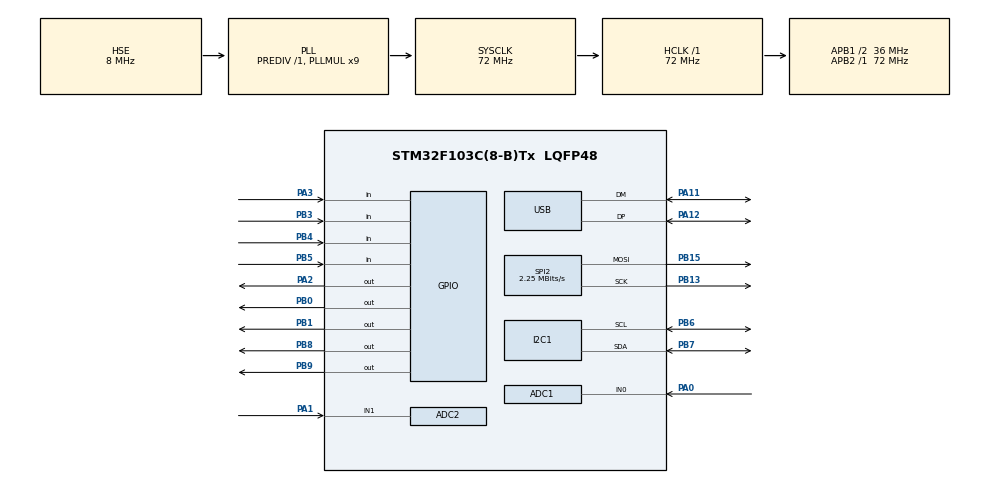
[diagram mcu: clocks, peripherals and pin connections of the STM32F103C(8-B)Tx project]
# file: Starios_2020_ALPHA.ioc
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ADC1.Channel-1\#ChannelRegularConversion=ADC_CHANNEL_0
ADC1.ContinuousConvMode=ENABLE
ADC1.NbrOfConversion=1
ADC1.NbrOfConversionFlag=1
ADC1.Rank-1\#ChannelRegularConversion=1
ADC1.SamplingTime-1\#ChannelRegularConversion=ADC_SAMPLETIME_1CYCLE_5
ADC1.master=1
ADC2.Channel-0\#ChannelRegularConversion=ADC_CHANNEL_1
ADC2.ContinuousConvMode=ENABLE
ADC2.NbrOfConversionFlag=1
ADC2.Rank-0\#ChannelRegularConversion=1
ADC2.SamplingTime-0\#ChannelRegularConversion=ADC_SAMPLETIME_1CYCLE_5
Dma.Request0=SPI2_TX
Dma.SPI2_TX.0.Direction=DMA_MEMORY_TO_PERIPH
Dma.SPI2_TX.0.Instance=DMA1_Channel5
Dma.SPI2_TX.0.MemDataAlignment=DMA_MDATAALIGN_BYTE
Dma.SPI2_TX.0.MemInc=DMA_MINC_ENABLE
Dma.SPI2_TX.0.Mode=DMA_NORMAL
Dma.SPI2_TX.0.PeriphDataAlignment=DMA_PDATAALIGN_BYTE
Dma.SPI2_TX.0.PeriphInc=DMA_PINC_DISABLE
Dma.SPI2_TX.0.Priority=DMA_PRIORITY_LOW
I2C1.I2C_Mode=I2C_Fast
I2C1.NoStretchMode=I2C_NOSTRETCH_DISABLE
Mcu.Family=STM32F1
Mcu.Name=STM32F103C(8-B)Tx
Mcu.Package=LQFP48
NVIC.DMA1_Channel5_IRQn=true\:0\:0\:false\:false\:true\:false\:true
NVIC.PriorityGroup=NVIC_PRIORITYGROUP_4
NVIC.TIM3_IRQn=true\:0\:0\:false\:false\:true\:true\:true
NVIC.USB_LP_CAN1_RX0_IRQn=true\:0\:0\:false\:false\:true\:false\:true
PA0-WKUP.Signal=ADCx_IN0
PA1.Signal=ADCx_IN1
PA11.Mode=Device
PA11.Signal=USB_DM
PA12.Mode=Device
PA12.Signal=USB_DP
PA13.Mode=Serial_Wire
PA13.Signal=SYS_JTMS-SWDIO
PA14.Mode=Serial_Wire
PA14.Signal=SYS_JTCK-SWCLK
PA2.Signal=GPIO_Output
PA3.GPIO_PuPd=GPIO_NOPULL
PA3.Signal=GPIO_Input
PB0.Signal=GPIO_Output
PB1.PinState=GPIO_PIN_SET
PB1.Signal=GPIO_Output
PB13.Mode=TX_Only_Simplex_Unidirect_Master
PB13.Signal=SPI2_SCK
PB15.Mode=TX_Only_Simplex_Unidirect_Master
PB15.Signal=SPI2_MOSI
PB3.Signal=GPIO_Input
PB4.Signal=GPIO_Input
PB5.GPIO_PuPd=GPIO_PULLUP
PB5.Signal=GPIO_Input
PB6.Mode=I2C
PB6.Signal=I2C1_SCL
PB7.Mode=I2C
PB7.Signal=I2C1_SDA
PB8.GPIO_PuPd=GPIO_PULLDOWN
PB8.Signal=GPIO_Output
PB9.GPIO_PuPd=GPIO_NOPULL
PB9.PinState=GPIO_PIN_RESET
PB9.Signal=GPIO_Output
PD0-OSC_IN.Mode=HSE-External-Oscillator
PD0-OSC_IN.Signal=RCC_OSC_IN
PD1-OSC_OUT.Mode=HSE-External-Oscillator
PD1-OSC_OUT.Signal=RCC_OSC_OUT
ProjectManager.HeapSize=0x200
ProjectManager.StackSize=0x400
ProjectManager.TargetToolchain=STM32CubeIDE
RCC.ADCPresc=RCC_ADCPCLK2_DIV6
RCC.AHBFreq_Value=72000000
RCC.APB1CLKDivider=RCC_HCLK_DIV2
RCC.APB1Freq_Value=36000000
RCC.APB1TimFreq_Value=72000000
RCC.APB2Freq_Value=72000000
RCC.APB2TimFreq_Value=72000000
RCC.HCLKFreq_Value=72000000
RCC.PLLMUL=RCC_PLL_MUL9
RCC.PLLSourceVirtual=RCC_PLLSOURCE_HSE
RCC.SYSCLKFreq_VALUE=72000000
RCC.SYSCLKSource=RCC_SYSCLKSOURCE_PLLCLK
RCC.USBFreq_Value=48000000
RCC.USBPrescaler=RCC_USBCLKSOURCE_PLL_DIV1_5
SH.ADCx_IN0.0=ADC1_IN0,IN0
SH.ADCx_IN1.0=ADC2_IN1,IN1
SPI2.BaudRatePrescaler=SPI_BAUDRATEPRESCALER_16
SPI2.CLKPhase=SPI_PHASE_2EDGE
SPI2.CalculateBaudRate=2.25 MBits/s
SPI2.Direction=SPI_DIRECTION_2LINES
SPI2.Mode=SPI_MODE_MASTER
SPI2.VirtualType=VM_MASTER
TIM3.ClockDivision=TIM_CLOCKDIVISION_DIV1
TIM3.Period=1656
TIM3.Prescaler=1
USB_DEVICE.CLASS_NAME_FS=CDC
USB_DEVICE.USBD_SELF_POWERED=0
USB_DEVICE.VirtualMode=Cdc
USB_DEVICE.VirtualModeFS=Cdc_FS
VP_TIM3_VS_ClockSourceINT.Mode=Internal
VP_USB_DEVICE_VS_USB_DEVICE_CDC_FS.Mode=CDC_FS
board=custom

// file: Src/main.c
/* USER CODE BEGIN Header */
/**FS
 *
  ******************************************************************************
  * @file           : main.c
  * @brief          : Main program body
  ******************************************************************************
  * @attention
  WS2812 spi dma
  goals
  1)use SPI with DMA to write a neoPixel Function stack   <------- DONE. SPI requires 2.25MHz to 2.5MHz clock speed
  2)Write a matrix library that can perform many common transformations. Translations, rotations, scale, skew, etc
  3)Integrate the FTT c library into this code to do Fast Fourier Transform on AUdio data without the need of MSGEQ7 icd  <------ DONE 90%
  4)write Battery Monitor Gauge function
  ---PINOUTS----
  -OLED -> PB6=SCK, PB7=SDA, PB1=RST (OUTPUT)
  -RGB -> PB15 (SPI2 MOSI)
  -MEMS AUDIO -> PA0 (Analog INPUT)
  -Battery Monitor -> PA1 (Analog INPUT)
  -Battery Monitor Enable -> PA2 (OUTPUT)
  -USB Connected Monitor -> PA3 (INPUT) ~2.5v Connected
  -USB Detect/Enable -> PB9 (low at boot, High when PA3 is active)
  -Soft Power -> PB8 (OUTPUT)
  -Buzzer -> PB0 (OUTPUT) *change to timer PWM-Mode output
  -Buttons -> BTN1=PB3 (INPUT), BTN2=PB4 (INPUT), BTN3=PB5 (PULL-UP INPUT) // All Active LOW
  -USB -> PA11, PA12 //having issue where USB data Pins are powering on the device <--Fixed using PB9 OUTPUT HIGH (3v3) when PA3 VBUS Detect INPUT HIGH.

   BOOT0: LOW = RUN, HIGH = PROGRAM

   *****ISSUES:
   	   	   	   1) Boot0 Pin State is confusing me. it seems to work either high or low now
   	   	   	   2) ADC1 (read_bat_adc) is slowing down the Audio Sampling. battery should only be checked every few minutes
   	   	   	   3) USB Virtual Serial Port Is only working if device is already on. <-- Fixed. note above

   ******Need to Write:
   	   	 1)Soft Power
   	   	 2)Noise Calibration & Auto Leveler(uses timer. maybe able to use FFT Timer)
   	   	 4)Function to pass-in a BIN value and have it Map to n-size output. used in all audio mode animations. instead of mapping in each animation
   	   	 5)Write a matrix library that can perform many common transformations. Translations, rotations, scale, skew, etc

how to program?
1) have Oled and RGB that update based on timer. i.e. at 30Hz. no matter what, update the display with what ever is in the buffer
2) for every action change the buffer and show

audio functions: Most readings are using a simple moving average i.e (current + previous) / 2

	INIT) Calibrate Mic. run this by holding BTN1 at boot. All it does: adjustvals();, shows bar graph. write EEPROM
		-if(calibrationFlag) Store Readings into NoisePCB[i] Array

	1) Adjust Vals: does 2 things. filters raw data and updates (increases) highthresh[i] as needed.
		-valS[i] = Rawvalue[i] - lowThresh[i] - NoisePCB[i]

		-highthresh[i] Minimum is lowthresh[i] + hOffset.  hOffset is just some fixed number, 6 is used on the atmel version
		-highThresh[i] is increased to ValS[i] if valS[i] > highthresh[i].
				interestingly. ValS[i] must also be < highthresh[i] + (2*hOffset).
				i think this is to prevent much larger signals from changing highthresh[i] too much too quickly
				in the mean time, in the ISR, highthresh[i]-- is pccuring every ISR cycle.
		-lowThresh[i] is only set manually using an exponential function.

	2) MSGEQ7 Mode
		-updateLowHighThresh(); - This function is mainly to manually update lowthresh[i] with a button press, and also resets highthresh[i] = lowthresh[i] + hOffset
		-Turn Hardware Sample Timer ON (ISR) -get raw data from fft. (really a running average) and perform highthresh[i]-- (or similar)
		-Run AdjustVals();  -listed above. remove noise and lowthresh from raw data. updates high thresh
		-Signal-Size Mapping. Does "need to write #4" (above) for each animation
		-map N dist and/or brightness/special mode action(high bass) to some sort of pre-defines vector. animations suck becuase they are based off static geometry.
		   	-yDist = (valS[i]*numRows) / (highThresh[i]-lowThresh[i]) // example of a mapping function with inMin = 0 and OutMin = 0
		-Show();

++STOPPED HERE. REVIEW ABOVE #2

-a better approach?
	0) calibration needs to exist? performed when it is quiet. maybe use the map() and set lowthresh[i] = NoisePCB[i] at boot? to omit any calibration?
	1)  Start Timer
	    Windowing()
		FFT()
		adjustVals() (perform filtering, increase highthresh[i] as needed, perform highthresh[i]-- (decrease over time interval), running average?
		Stop Timer
	2)update RGB animation() - need access to valS[i], yDist, rDist,gDist,bDist. write functions that can return those. perhaps others?
	3)checkbuttons()
	  -at a slower interval: analog read battery and check USB
	4)show OLED();
	  show RGB();

-There is a random number function I wrote to simplify getting a random number
-I have the stm32 outputting serial data on USb detect
  ******************************************************************************
  */
/* USER CODE END Header */

#include "main.h"
#include "usb_device.h"

/* USER CODE BEGIN Includes */
//#include "stm32f1xx_it.h"
#include "stdlib.h"
#include "string.h"
#include "math.h"

#include "bittable.h"
#include "Chartable.h"
#include "matrixLayout.h"

#include "ssd1306.h"
#include "fonts.h"
#include "bitmap.h"
#include "eeprom.h"
USBD_HandleTypeDef hUsbDeviceFS;
/* USER CODE END Includes */

/* USER CODE BEGIN PD */
#define NUMLEDS 168 //number of leds 128 or 168 or 121 (168 has dummy columns)
#define EXPANDFACTOR 9 // 3 bytes to SPI for 1 byte of color. green or red or blue
#define SPILOWTIME 30 //(30 for rgb3535) this is calculated on spi clock speed. it needs to be 50us of spi 0 bytes
#define BMAX 11*4//11
#define BMED 6*4//6
#define BMIN 2*4

#define numCols 21
#define numRows 8
//#define RAND_MAX 32767

//Leds are G,R,B
#define BLACK 0x000000
#define GREEN 0x0A0000
#define RED 0x000A00
#define BLUE 0x00000A

#define N	128 //64
#define PI	3.14159265
#define FFT_LIB_REV 0x14
#define FFT_FORWARD 0x01
#define FFT_REVERSE 0x00
#define FFT_WIN_TYP_RECTANGLE 0x00 /* rectangle (Box car) */
#define FFT_WIN_TYP_HAMMING 0x01 /* hamming */
#define FFT_WIN_TYP_HANN 0x02 /* hann */
#define FFT_WIN_TYP_TRIANGLE 0x03 /* triangle (Bartlett) */
#define FFT_WIN_TYP_NUTTALL 0x04 /* nuttall */
#define FFT_WIN_TYP_BLACKMAN 0x05 /* blackman */
#define FFT_WIN_TYP_BLACKMAN_NUTTALL 0x06 /* blackman nuttall */
#define FFT_WIN_TYP_BLACKMAN_HARRIS 0x07 /* blackman harris*/
#define FFT_WIN_TYP_FLT_TOP 0x08 /* flat top */
#define FFT_WIN_TYP_WELCH 0x09 /* welch */
#define twoPi 6.28318531
#define fourPi 12.56637061
#define sixPi 18.84955593

/* USER CODE END PD */

ADC_HandleTypeDef hadc1;
ADC_HandleTypeDef hadc2;

I2C_HandleTypeDef hi2c1;

SPI_HandleTypeDef hspi2;
DMA_HandleTypeDef hdma_spi2_tx;

TIM_HandleTypeDef htim3;

void SystemClock_Config(void);
static void MX_GPIO_Init(void);
static void MX_DMA_Init(void);
static void MX_SPI2_Init(void);
static void MX_ADC1_Init(void);
static void MX_I2C1_Init(void);
static void MX_TIM3_Init(void);
static void MX_ADC2_Init(void);
/* USER CODE BEGIN PFP */
void setPixelColor(int,uint32_t);
uint32_t getPixelColor(int);
void show(void);
void getrand(int);
long map(long, long, long, long, long);
void HorizShiftR(void);
void HorizShiftL(void);
void rotateCCW(uint32_t);
void sine1 (uint32_t);
void nBalls (void);
void nGrid (void);
void splash(void);
uint32_t Color(uint8_t,uint8_t,uint8_t);
void BlankScreen(uint32_t);
void printCharWithShiftL(char, int);
void printStringWithShiftL(char*, int);
int randomNum(int, int);

void graphMAG(void);
void graphMAG_ADJUSTED(void);
uint16_t read_adc (void);
uint16_t read_bat_adc(void);
void ComputeFFT(double* , double* , uint16_t , uint8_t , uint8_t);
void ComplexToMagnitude(double* , double* , uint16_t);
uint8_t Exponent(uint16_t);
void Swap(double* , double*);
void Windowing(double* , uint16_t , uint8_t , uint8_t);
double sq(double);
void updateLowHighThresh(void);
void adjustVals(void);
uint16_t audioMap(int, int, int);

int checkbuttons(void);
int checkUSBConnected(void);
void USBdataEnable(int);

extern uint8_t CDC_Transmit_FS(uint8_t*, uint16_t); //prototype of external usb transmit
//need a usb receive function
/* USER CODE END PFP */

/* USER CODE BEGIN 0 */

uint8_t myData[(NUMLEDS*EXPANDFACTOR)+SPILOWTIME]; //holds all the expanded Pixel Color data + the 50uS of zero time (WS2812 reset)
uint32_t Forecolor = 0x000800;
uint8_t Brange = BMIN; //1,6,11  //set the brightness for each chanel in getrand();
uint8_t green; //used in getrand
uint8_t red;   //used in getrand
uint8_t blue;  //used in getrand
uint8_t mbuffer[3];   //used for scroll text

uint32_t ArrayBuffer[8] = {0, 0, 0, 0, 0, 0, 0, 0}; //this can be local?
int randSelect = 0;
int cycles = 10;
uint32_t waittime = 200;
char myString[] = "H3llo "; //used to test USB virutal COM Port Transmit

volatile uint16_t adc_value = 0; //holds ADC0 value
volatile uint8_t n_count = 0; //indexes hgihwater count
volatile uint8_t n_done = 0; //flag to perform fft operations
double REX[N]; //holds Real input and Realoutput (overwritten when windowing/computeFFT is performed
double IMX[N]; //hold imaginary output
int MAG[N];//magnitude of a+bi vector
const uint16_t mySamples = N; //needs to match #define N

uint32_t threshLevel=0;
uint32_t threshWater=1000;
uint32_t hOffset = 32; //somewhere around 25 to 50 seems good. if this is too low the screen will "max out"
uint32_t highThresh[N];
uint32_t lowThresh[N];
uint32_t micLevel = 2;

const int tones[6] = {1, 1, 2, 2, 1 ,2}; //these are like pitches
const int tonedelay[6]={1,1,1,1,1,1}; //these are duration delays

uint16_t batteryLevel = 0;

/* Virtual address defined by the user: 0xFFFF value is prohibited */
uint16_t VirtAddVarTab[NB_OF_VAR] = {0x5555, 0x6666, 0x7777};
uint16_t VarDataTab[NB_OF_VAR] = {0, 0, 0};
uint16_t VarValue = 0;
/* USER CODE END 0 */

int main(void)
{

  /* MCU Configuration--------------------------------------------------------*/

  /* Reset of all peripherals, Initializes the Flash interface and the Systick. */
  HAL_Init();

  /* Configure the system clock */
  SystemClock_Config();

  /* Initialize all configured peripherals */
  MX_GPIO_Init();
  MX_DMA_Init();
  MX_SPI2_Init();
  MX_ADC1_Init();
  MX_I2C1_Init();
  MX_TIM3_Init();
  MX_ADC2_Init();
  MX_USB_DEVICE_Init();
  /* USER CODE BEGIN 2 */

//SETUP
    //Power INIT
  HAL_Delay(500); //wait .5 sec before power on. prevents false positives
  HAL_GPIO_WritePin(GPIOB,GPIO_PIN_8, GPIO_PIN_SET);//SoftPower ON
  //HAL_GPIO_WritePin(GPIOB,GPIO_PIN_8, GPIO_PIN_RESET);//SoftPower OFF

  //REQUIRED to set all the end frame bytes to zero (50uS ws2812 reset)
  for (int x=(NUMLEDS*EXPANDFACTOR); x<(NUMLEDS*EXPANDFACTOR)+SPILOWTIME; x++) myData[x] = 0;
  for (int i=0; i<N; i++)highThresh[i] = hOffset;
  /* Unlock the Flash Program Erase controller */
 // HAL_FLASH_Unlock();

  /* EEPROM Init */
 // EE_Init();

  SSD1306_Init();  // initialize (modified ssd1306.c with reset pin code)

  HAL_ADC_Start(&hadc1); //starts the adc configured in continuous mode (cubeMX)

  HAL_ADC_Start(&hadc2); //start adc2 in continuous mode

updateLowHighThresh(); //set lowThresh and HighThresh

SSD1306_GotoXY (0,0);
SSD1306_Clear();
SSD1306_DrawBitmap(0,0,Boot, 128, 32, 1);
SSD1306_UpdateScreen(); //display
HAL_Delay (500);
SSD1306_Clear();

BlankScreen(BLACK);
printStringWithShiftL(" STARIOS GEAR 2020   ", 40); //Send Lscrolling Text (send car array)
BlankScreen(BLACK);

for(int i=0; i<6; i++){//buzzer test.
  for(int x=0; x<tonedelay[i]*40; x++){
    HAL_GPIO_WritePin(GPIOB,GPIO_PIN_0, GPIO_PIN_SET);
    HAL_Delay(tones[i]);
    HAL_GPIO_WritePin(GPIOB,GPIO_PIN_0, GPIO_PIN_RESET);
    HAL_Delay(tones[i]);
  }
  HAL_Delay(tonedelay[i]*25);
}

/*
for(int c=0; c<3; c++){ //mesing around with some animations 3 floating heads i guess
  for(int x=0; x<128; x+=4){
  SSD1306_Clear();
  SSD1306_DrawBitmap(x,(uint16_t) 16 + 16*sin(2*PI*x/128),face, 16, 16, 1); //bitmaps need to be powers of 2?
  SSD1306_DrawBitmap(x,(uint16_t) 20 + 16*sin(2*PI*x/64),face, 16, 16, 1);
  SSD1306_DrawBitmap(x,(uint16_t) 24 + 16*sin(2*PI*x/32),face, 16, 16, 1);
  SSD1306_UpdateScreen(); //display
  }
}
*/
  /* USER CODE END 2 */

  /* Infinite loop */
while (1){

    /* USER CODE BEGIN 3 */

/*
	//RGB TEST
	cycles = 10;
	BlankScreen(BLACK);
	for(int x=0; x<1; x++){
	  BlankScreen(RED);
	  HAL_Delay(5000);
	  BlankScreen(GREEN);
	  HAL_Delay(5000);
	  BlankScreen(BLUE);
	  HAL_Delay(5000);
	}
*/

/*
	for(int x=0; x<2; x++){
	  waittime = 3000;
	  getrand(0);
	  BlankScreen(Forecolor);
	  HAL_Delay(waittime);
	}
*/
//END RGB TESTs

HAL_TIM_Base_Start_IT(&htim3); //start Timer 3. used for FFT sampling

for(int x=0; x<10000; x++){ 											//long loop for testing FFT (working pretty will)
	while (!n_done); 													// empty loop until N ADC's have occured in the TIM3 ISR
	for (int i = 0; i < mySamples; i++) IMX[i] = 0.0; 					//zero out complex part before FFT
	Windowing(REX, mySamples, FFT_WIN_TYP_HANN, FFT_FORWARD);		//HANN	//Apply Window the the ADC data
	ComputeFFT(REX, IMX, mySamples, Exponent(mySamples),FFT_FORWARD); 	//perform the exponent in setup to optimize
	HAL_TIM_Base_Stop_IT(&htim3); 										//stop Timer 3

	SSD1306_Puti(0, 6, 7-checkbuttons(), 1); 							//print button press TESTING

	if(x%200==0) batteryLevel = read_bat_adc(); //only update the battery monitor every 1000

	SSD1306_Puti(20, 6, batteryLevel, 4); //print battery level test
	SSD1306_DrawFilledRectangle(20, 0, (uint16_t) map(batteryLevel,0,4096,0,80) , 2 , 1); //only run this every few minutes or so
	if(checkUSBConnected()){
		USBdataEnable(1); //enable USB Data+ (DP)
		SSD1306_GotoXY (100,0);
		SSD1306_Puts ("USB", &Font_7x10, 1);; //1 if USB plugged in, 0 if not plugged in
		//USB Virtual serial Port send string
		char str[6]; //23 change this based on the string + data + newline+string null, etc
		//sprintf(str, "Battery Level = %04ld \n", batteryLevel); //sprintf is complainging becuase using uint8_t instead of char
		sprintf(str, "%04ld\n", batteryLevel); //sprintf is complainging becuase using uint8_t instead of char
		if(x%200==0) CDC_Transmit_FS(str, sizeof(str)); //prints color value to USB virtual serial port //send a test message
	}else{
		USBdataEnable(0); //Disable USB Data+ (DP)
	}

	//graphMAG(); //graph the complex magnitudes on the oled
	graphMAG_ADJUSTED(); //graph the complex magnitudes on the oled
	HAL_TIM_Base_Start_IT(&htim3); //start Timer 3
	n_done = 0;
}

HAL_TIM_Base_Stop_IT(&htim3); //stop Timer 3 //needed to prevent weird RGB led shit

	cycles = 1000;
	BlankScreen(BLACK);
	for(int x=0; x<10; x++){
	  waittime = 30;
	  getrand(0);
	  sine1(waittime);
	}

	cycles = 1000;
	waittime = 30;
	BlankScreen(BLACK);
	printStringWithShiftL(" STARIOS GEAR 2020   ", 40); //Send Lscrolling Text (send car array)

/*
	cycles = 4;
		waittime = 10;
		BlankScreen(0x000000);
		for(int x=0; x<500; x++){
			rotateCCW(45); //WIP
		}

*/
	cycles = 4;

	BlankScreen(BLACK);
	for(int x=0; x<500; x++){
		waittime = 10;
		nGrid();
	}

	cycles = 1000;
	waittime = 30;
	BlankScreen(BLACK);
	for(int x=0; x<10; x++){
		waittime = 30;
	  //getrand(0);
	  sine1(waittime);
	}

	cycles = 500;
	waittime = 20;
	BlankScreen(BLACK);
	for(int x=0; x<4; x++){
	  nBalls();
	}

	//test pattern
	BlankScreen(BLACK);
	getrand(0);
	setPixelColor(0, Forecolor); //set first pixel a random color
	show();
	HAL_Delay(500);
	for(int x=0; x<NUMLEDS; x++){
	  setPixelColor(x, getPixelColor(0)); //set first pixel green
	  show();
	  HAL_Delay(20);
	}

  }
  /* USER CODE END 3 */
}

void SystemClock_Config(void)
{
  RCC_OscInitTypeDef RCC_OscInitStruct = {0};
  RCC_ClkInitTypeDef RCC_ClkInitStruct = {0};
  RCC_PeriphCLKInitTypeDef PeriphClkInit = {0};

  /** Initializes the CPU, AHB and APB busses clocks
  */
  RCC_OscInitStruct.OscillatorType = RCC_OSCILLATORTYPE_HSE;
  RCC_OscInitStruct.HSEState = RCC_HSE_ON;
  RCC_OscInitStruct.HSEPredivValue = RCC_HSE_PREDIV_DIV1;
  RCC_OscInitStruct.HSIState = RCC_HSI_ON;
  RCC_OscInitStruct.PLL.PLLState = RCC_PLL_ON;
  RCC_OscInitStruct.PLL.PLLSource = RCC_PLLSOURCE_HSE;
  RCC_OscInitStruct.PLL.PLLMUL = RCC_PLL_MUL9;
  if (HAL_RCC_OscConfig(&RCC_OscInitStruct) != HAL_OK)
  {
    Error_Handler();
  }
  /** Initializes the CPU, AHB and APB busses clocks
  */
  RCC_ClkInitStruct.ClockType = RCC_CLOCKTYPE_HCLK|RCC_CLOCKTYPE_SYSCLK
                              |RCC_CLOCKTYPE_PCLK1|RCC_CLOCKTYPE_PCLK2;
  RCC_ClkInitStruct.SYSCLKSource = RCC_SYSCLKSOURCE_PLLCLK;
  RCC_ClkInitStruct.AHBCLKDivider = RCC_SYSCLK_DIV1;
  RCC_ClkInitStruct.APB1CLKDivider = RCC_HCLK_DIV2;
  RCC_ClkInitStruct.APB2CLKDivider = RCC_HCLK_DIV1;

  if (HAL_RCC_ClockConfig(&RCC_ClkInitStruct, FLASH_LATENCY_2) != HAL_OK)
  {
    Error_Handler();
  }
  PeriphClkInit.PeriphClockSelection = RCC_PERIPHCLK_ADC|RCC_PERIPHCLK_USB;
  PeriphClkInit.AdcClockSelection = RCC_ADCPCLK2_DIV6;
  PeriphClkInit.UsbClockSelection = RCC_USBCLKSOURCE_PLL_DIV1_5;
  if (HAL_RCCEx_PeriphCLKConfig(&PeriphClkInit) != HAL_OK)
  {
    Error_Handler();
  }
}

static void MX_ADC1_Init(void)
{

  ADC_ChannelConfTypeDef sConfig = {0};

  /** Common config
  */
  hadc1.Instance = ADC1;
  hadc1.Init.ScanConvMode = ADC_SCAN_DISABLE;
  hadc1.Init.ContinuousConvMode = ENABLE;
  hadc1.Init.DiscontinuousConvMode = DISABLE;
  hadc1.Init.ExternalTrigConv = ADC_SOFTWARE_START;
  hadc1.Init.DataAlign = ADC_DATAALIGN_RIGHT;
  hadc1.Init.NbrOfConversion = 1;
  if (HAL_ADC_Init(&hadc1) != HAL_OK)
  {
    Error_Handler();
  }
  /** Configure Regular Channel
  */
  sConfig.Channel = ADC_CHANNEL_0;
  sConfig.Rank = ADC_REGULAR_RANK_1;
  sConfig.SamplingTime = ADC_SAMPLETIME_1CYCLE_5;
  if (HAL_ADC_ConfigChannel(&hadc1, &sConfig) != HAL_OK)
  {
    Error_Handler();
  }

}

static void MX_ADC2_Init(void)
{

  ADC_ChannelConfTypeDef sConfig = {0};

  /** Common config
  */
  hadc2.Instance = ADC2;
  hadc2.Init.ScanConvMode = ADC_SCAN_DISABLE;
  hadc2.Init.ContinuousConvMode = ENABLE;
  hadc2.Init.DiscontinuousConvMode = DISABLE;
  hadc2.Init.ExternalTrigConv = ADC_SOFTWARE_START;
  hadc2.Init.DataAlign = ADC_DATAALIGN_RIGHT;
  hadc2.Init.NbrOfConversion = 1;
  if (HAL_ADC_Init(&hadc2) != HAL_OK)
  {
    Error_Handler();
  }
  /** Configure Regular Channel
  */
  sConfig.Channel = ADC_CHANNEL_1;
  sConfig.Rank = ADC_REGULAR_RANK_1;
  sConfig.SamplingTime = ADC_SAMPLETIME_1CYCLE_5;
  if (HAL_ADC_ConfigChannel(&hadc2, &sConfig) != HAL_OK)
  {
    Error_Handler();
  }

}

static void MX_I2C1_Init(void)
{

  hi2c1.Instance = I2C1;
  hi2c1.Init.ClockSpeed = 400000;
  hi2c1.Init.DutyCycle = I2C_DUTYCYCLE_2;
  hi2c1.Init.OwnAddress1 = 0;
  hi2c1.Init.AddressingMode = I2C_ADDRESSINGMODE_7BIT;
  hi2c1.Init.DualAddressMode = I2C_DUALADDRESS_DISABLE;
  hi2c1.Init.OwnAddress2 = 0;
  hi2c1.Init.GeneralCallMode = I2C_GENERALCALL_DISABLE;
  hi2c1.Init.NoStretchMode = I2C_NOSTRETCH_DISABLE;
  if (HAL_I2C_Init(&hi2c1) != HAL_OK)
  {
    Error_Handler();
  }

}

static void MX_SPI2_Init(void)
{

  /* SPI2 parameter configuration*/
  hspi2.Instance = SPI2;
  hspi2.Init.Mode = SPI_MODE_MASTER;
  hspi2.Init.Direction = SPI_DIRECTION_2LINES;
  hspi2.Init.DataSize = SPI_DATASIZE_8BIT;
  hspi2.Init.CLKPolarity = SPI_POLARITY_LOW;
  hspi2.Init.CLKPhase = SPI_PHASE_2EDGE;
  hspi2.Init.NSS = SPI_NSS_SOFT;
  hspi2.Init.BaudRatePrescaler = SPI_BAUDRATEPRESCALER_16;
  hspi2.Init.FirstBit = SPI_FIRSTBIT_MSB;
  hspi2.Init.TIMode = SPI_TIMODE_DISABLE;
  hspi2.Init.CRCCalculation = SPI_CRCCALCULATION_DISABLE;
  hspi2.Init.CRCPolynomial = 10;
  if (HAL_SPI_Init(&hspi2) != HAL_OK)
  {
    Error_Handler();
  }

}

static void MX_TIM3_Init(void)
{

  TIM_ClockConfigTypeDef sClockSourceConfig = {0};
  TIM_MasterConfigTypeDef sMasterConfig = {0};

  htim3.Instance = TIM3;
  htim3.Init.Prescaler = 1;
  htim3.Init.CounterMode = TIM_COUNTERMODE_UP;
  htim3.Init.Period = 1656;
  htim3.Init.ClockDivision = TIM_CLOCKDIVISION_DIV1;
  htim3.Init.AutoReloadPreload = TIM_AUTORELOAD_PRELOAD_DISABLE;
  if (HAL_TIM_Base_Init(&htim3) != HAL_OK)
  {
    Error_Handler();
  }
  sClockSourceConfig.ClockSource = TIM_CLOCKSOURCE_INTERNAL;
  if (HAL_TIM_ConfigClockSource(&htim3, &sClockSourceConfig) != HAL_OK)
  {
    Error_Handler();
  }
  sMasterConfig.MasterOutputTrigger = TIM_TRGO_RESET;
  sMasterConfig.MasterSlaveMode = TIM_MASTERSLAVEMODE_DISABLE;
  if (HAL_TIMEx_MasterConfigSynchronization(&htim3, &sMasterConfig) != HAL_OK)
  {
    Error_Handler();
  }

}

static void MX_DMA_Init(void)
{

  /* DMA controller clock enable */
  __HAL_RCC_DMA1_CLK_ENABLE();

  /* DMA interrupt init */
  /* DMA1_Channel5_IRQn interrupt configuration */
  HAL_NVIC_SetPriority(DMA1_Channel5_IRQn, 0, 0);
  HAL_NVIC_EnableIRQ(DMA1_Channel5_IRQn);

}

static void MX_GPIO_Init(void)
{
  GPIO_InitTypeDef GPIO_InitStruct = {0};

  /* GPIO Ports Clock Enable */
  __HAL_RCC_GPIOD_CLK_ENABLE();
  __HAL_RCC_GPIOA_CLK_ENABLE();
  __HAL_RCC_GPIOB_CLK_ENABLE();

  /*Configure GPIO pin Output Level */
  HAL_GPIO_WritePin(GPIOA, GPIO_PIN_2, GPIO_PIN_RESET);

  /*Configure GPIO pin Output Level */
  HAL_GPIO_WritePin(GPIOB, GPIO_PIN_0|GPIO_PIN_8|GPIO_PIN_9, GPIO_PIN_RESET);

  /*Configure GPIO pin Output Level */
  HAL_GPIO_WritePin(GPIOB, GPIO_PIN_1, GPIO_PIN_SET);

  /*Configure GPIO pin : PA2 */
  GPIO_InitStruct.Pin = GPIO_PIN_2;
  GPIO_InitStruct.Mode = GPIO_MODE_OUTPUT_PP;
  GPIO_InitStruct.Pull = GPIO_NOPULL;
  GPIO_InitStruct.Speed = GPIO_SPEED_FREQ_LOW;
  HAL_GPIO_Init(GPIOA, &GPIO_InitStruct);

  /*Configure GPIO pin : PA3 */
  GPIO_InitStruct.Pin = GPIO_PIN_3;
  GPIO_InitStruct.Mode = GPIO_MODE_INPUT;
  GPIO_InitStruct.Pull = GPIO_NOPULL;
  HAL_GPIO_Init(GPIOA, &GPIO_InitStruct);

  /*Configure GPIO pins : PB0 PB1 PB9 */
  GPIO_InitStruct.Pin = GPIO_PIN_0|GPIO_PIN_1|GPIO_PIN_9;
  GPIO_InitStruct.Mode = GPIO_MODE_OUTPUT_PP;
  GPIO_InitStruct.Pull = GPIO_NOPULL;
  GPIO_InitStruct.Speed = GPIO_SPEED_FREQ_LOW;
  HAL_GPIO_Init(GPIOB, &GPIO_InitStruct);

  /*Configure GPIO pins : PB3 PB4 */
  GPIO_InitStruct.Pin = GPIO_PIN_3|GPIO_PIN_4;
  GPIO_InitStruct.Mode = GPIO_MODE_INPUT;
  GPIO_InitStruct.Pull = GPIO_NOPULL;
  HAL_GPIO_Init(GPIOB, &GPIO_InitStruct);

  /*Configure GPIO pin : PB5 */
  GPIO_InitStruct.Pin = GPIO_PIN_5;
  GPIO_InitStruct.Mode = GPIO_MODE_INPUT;
  GPIO_InitStruct.Pull = GPIO_PULLUP;
  HAL_GPIO_Init(GPIOB, &GPIO_InitStruct);

  /*Configure GPIO pin : PB8 */
  GPIO_InitStruct.Pin = GPIO_PIN_8;
  GPIO_InitStruct.Mode = GPIO_MODE_OUTPUT_PP;
  GPIO_InitStruct.Pull = GPIO_PULLDOWN;
  GPIO_InitStruct.Speed = GPIO_SPEED_FREQ_LOW;
  HAL_GPIO_Init(GPIOB, &GPIO_InitStruct);

}

/* USER CODE BEGIN 4 */
int checkbuttons(void){ // BTN3 = PB5 needs internal Pullups enabled
int c = 0;
c |= HAL_GPIO_ReadPin(GPIOB,GPIO_PIN_5)<<2 | HAL_GPIO_ReadPin(GPIOB,GPIO_PIN_4)<<1 | HAL_GPIO_ReadPin(GPIOB,GPIO_PIN_3);
return c;
}

int checkUSBConnected(void){ // Check for USB is plugged in to power
	int c = 0;
	c=HAL_GPIO_ReadPin(GPIOA,GPIO_PIN_3);
	return c;
}

void USBdataEnable(int c){ //this function will enable USB serial device if VBUS is connected
	if(c){
	HAL_GPIO_WritePin(GPIOB,GPIO_PIN_9, GPIO_PIN_SET);//pull USB Data+ (DP) High
	}else{
		HAL_GPIO_WritePin(GPIOB,GPIO_PIN_9, GPIO_PIN_RESET);//pull USB Data+ (DP) LOW
	}
}

////////////////////////////////////////////////////////////////////////////////START FFt Lib functions
void ComputeFFT(double *vReal, double *vImag, uint16_t samples, uint8_t power, uint8_t dir)
{	// Computes in-place complex-to-complex FFT
	// Reverse bits
	uint16_t j = 0;
	for (uint16_t i = 0; i < (samples - 1); i++) {
		if (i < j) {
			Swap(&vReal[i], &vReal[j]);
			if(dir==FFT_REVERSE)
				Swap(&vImag[i], &vImag[j]);
		}
		uint16_t k = (samples >> 1);
		while (k <= j) {
			j -= k;
			k >>= 1;
		}
		j += k;
	}
	// Compute the FFT
	double c1 = -1.0;
	double c2 = 0.0;
	uint16_t l2 = 1;
	for (uint8_t l = 0; (l < power); l++) {
		uint16_t l1 = l2;
		l2 <<= 1;
		double u1 = 1.0;
		double u2 = 0.0;
		for (j = 0; j < l1; j++) {
			 for (uint16_t i = j; i < samples; i += l2) {
					uint16_t i1 = i + l1;
					double t1 = u1 * vReal[i1] - u2 * vImag[i1];
					double t2 = u1 * vImag[i1] + u2 * vReal[i1];
					vReal[i1] = vReal[i] - t1;
					vImag[i1] = vImag[i] - t2;
					vReal[i] += t1;
					vImag[i] += t2;
			 }
			 double z = ((u1 * c1) - (u2 * c2));
			 u2 = ((u1 * c2) + (u2 * c1));
			 u1 = z;
		}
		c2 = sqrt((1.0 - c1) / 2.0);
		if (dir == FFT_FORWARD) {
			c2 = -c2;
		}
		c1 = sqrt((1.0 + c1) / 2.0);
	}
	// Scaling for reverse transform
	if (dir != FFT_FORWARD) {
		for (uint16_t i = 0; i < samples; i++) {
			 vReal[i] /= samples;
			 vImag[i] /= samples;
		}
	}
}

void ComplexToMagnitude(double *vReal, double *vImag, uint16_t samples){	// vM is half the size of vReal and vImag
	for (uint16_t i = 0; i < samples; i++) {
		vReal[i] = sqrt(sq(vReal[i]) + sq(vImag[i]));
	}
}

uint8_t Exponent(uint16_t value){
	// Calculates the base 2 logarithm of a value
	uint8_t result = 0;
	while (((value >> result) & 1) != 1) result++;
	return(result);
}

// Private functions

void Swap(double *x, double *y){
	double temp = *x;
	*x = *y;
	*y = temp;
}

void Windowing(double *vData, uint16_t samples, uint8_t windowType, uint8_t dir)
{// Weighing factors are computed once before multiple use of FFT
// The weighing function is symetric; half the weighs are recorded
	double samplesMinusOne = (double)(samples - 1.0);
	for (uint16_t i = 0; i < (samples >> 1); i++) {
		double indexMinusOne = (double) i;
		double ratio = (indexMinusOne / samplesMinusOne);
		double weighingFactor = 1.0;
		// Compute and record weighting factor
		switch (windowType) {
		case FFT_WIN_TYP_RECTANGLE: // rectangle (box car)
			weighingFactor = 1.0;
			break;
		case FFT_WIN_TYP_HAMMING: // hamming
			weighingFactor = 0.54 - (0.46 * cos(twoPi * ratio));
			break;
		case FFT_WIN_TYP_HANN: // hann
			weighingFactor = 0.54 * (1.0 - cos(twoPi * ratio));
			break;
		case FFT_WIN_TYP_TRIANGLE: // triangle (Bartlett)
			weighingFactor = 1.0 - ((2.0 * abs(indexMinusOne - (samplesMinusOne / 2.0))) / samplesMinusOne);
			break;
		case FFT_WIN_TYP_NUTTALL: // nuttall
			weighingFactor = 0.355768 - (0.487396 * (cos(twoPi * ratio))) + (0.144232 * (cos(fourPi * ratio))) - (0.012604 * (cos(sixPi * ratio)));
			break;
		case FFT_WIN_TYP_BLACKMAN: // blackman
			weighingFactor = 0.42323 - (0.49755 * (cos(twoPi * ratio))) + (0.07922 * (cos(fourPi * ratio)));
			break;
		case FFT_WIN_TYP_BLACKMAN_NUTTALL: // blackman nuttall
			weighingFactor = 0.3635819 - (0.4891775 * (cos(twoPi * ratio))) + (0.1365995 * (cos(fourPi * ratio))) - (0.0106411 * (cos(sixPi * ratio)));
			break;
		case FFT_WIN_TYP_BLACKMAN_HARRIS: // blackman harris
			weighingFactor = 0.35875 - (0.48829 * (cos(twoPi * ratio))) + (0.14128 * (cos(fourPi * ratio))) - (0.01168 * (cos(sixPi * ratio)));
			break;
		case FFT_WIN_TYP_FLT_TOP: // flat top
			weighingFactor = 0.2810639 - (0.5208972 * cos(twoPi * ratio)) + (0.1980399 * cos(fourPi * ratio));
			break;
		case FFT_WIN_TYP_WELCH: // welch
			weighingFactor = 1.0 - sq((indexMinusOne - samplesMinusOne / 2.0) / (samplesMinusOne / 2.0));
			break;
		}
		if (dir == FFT_FORWARD) {
			vData[i] *= weighingFactor;
			vData[samples - (i + 1)] *= weighingFactor;
		}
		else {
			vData[i] /= weighingFactor;
			vData[samples - (i + 1)] /= weighingFactor;
		}
	}
}

double sq(double x){ //math squaring function
return 	x*x;
}

uint16_t read_adc(){ //reads ADC0 into adcVAL (12-bit?)
    //HAL_ADC_Start(&hadc1);
    uint16_t adcVal = HAL_ADC_GetValue(&hadc1);
	//HAL_ADC_Stop(&hadc1);
	return adcVal;
}
////////////////////////////////////////////////////////////////////////////////END FFt Lib functions

uint16_t read_bat_adc(){ //reads ADC0 into adcVAL (12-bit?)
  HAL_GPIO_WritePin(GPIOA,GPIO_PIN_2, GPIO_PIN_SET);//Battery Check Enabled
  HAL_Delay(10);
  //HAL_ADC_Start(&hadc2);
  uint16_t adcBatVal = HAL_ADC_GetValue(&hadc2);
 // HAL_ADC_Stop(&hadc2);
  HAL_GPIO_WritePin(GPIOA,GPIO_PIN_2, GPIO_PIN_RESET);//Battery Check Disabled
return adcBatVal;
}

void graphMAG() { //draws FFT magnitudes on OLED and RGB Matrix
	  uint8_t slide = 2; //bin number from bin[0] //MAG[0] and MAG[1] are a bitch. starts at MAG[2].
	  uint8_t Sc = 4;//every other bin. 64 bins. 32 usable bins. displaying 16 bins.
  uint16_t freqScale[16]={1024,1024,1024,1024,1024,1024,1024,1024,1024,1024,1024,1024,1024,1024,1024,1024}; //these set the upper limit (10Bit)
  //adjustVals(); //
  for(int i=0; i<N; i++){
	  MAG[i] = sqrt(REX[i]*REX[i] + IMX[i]*IMX[i]); //Magnitude from Pythagoram of Real and Complex
  	  if (MAG[i] < 0) MAG[i] = 0;
  	  if (MAG[i] > 1023) MAG[i] = 1023;
  }
  for(int k=0; k<16; k++) SSD1306_DrawFilledRectangle(8*k, (SSD1306_HEIGHT-1)-(uint16_t) map(MAG[(k*Sc)+slide],0,freqScale[k],0,(SSD1306_HEIGHT-1)), 6, (uint16_t) map(MAG[(k*Sc)+slide],0,freqScale[k],0,(SSD1306_HEIGHT-1)), 1); //draw 16 bars abs(x[k]) on (0 to k/2)
  SSD1306_UpdateScreen(); //display
  SSD1306_Clear();

  BlankScreen(BLACK);
  for(int x=0; x<8; x++){ //graph on rgb glasses
	  getrand(randSelect);
	  for(int y=0; y<(uint16_t) map(MAG[(x*Sc)+slide],0,1024,0,numRows); y++) setPixelColor(ColumnArray[x][y], Forecolor);   //I changed this to work with the 168 led display(21 cols) and 32 (64/2 usable) Bins
	  for(int y=0; y<(uint16_t) map(MAG[((x+8)*Sc)+slide],0,1024,0,numRows); y++) setPixelColor(ColumnArray[x+13][y], Forecolor);
  }
  show();

}

//AAAAAAAAAAAAAAAAAAAAAAAAAAAAAAAAAAAAAAAAAAAAAAAAAAAAAAAAAAAAAAAAAAAAAAAAAAAAAAAAAAAAAAAAAAAAAAAAAAAAAAAAAAAAAAAAAAAAAAA Audio Adjustments

void updateLowHighThresh(){ //maybe use these to change mic from Bass, Mids, Highs. instead of
	//Seem like the CENTER channels are the most sensitive. so need them to cancel out fist. But also have the issue with bass traveling the furthest
	//Constant Coefficient to apply to each channel //lower number means LESS Sensitive, more of that freq is needed
	//float ChnlCoef[] = {3.2, 3.6 , 3.8, 4.0, 3.4, 5.5, 5.0}; //heavy base
	//uint32_t ChnlCoef[] = {3.2, 3.6 , 3.8, 4.0, 3.4, 5.5, 5.0}; //NEED 64
	for(int k=0; k<N; k++){ //Change the lowThresh[x] value here
		//lowThresh[k] = (uint32_t) pow(10, micLevel/ChnlCoef[k])  - 1; ////F(x) = 10^(x/ChnlCoef)
		//lowThresh[k] = (uint16_t) (0.15*k)+4;
		//lowThresh[k] = (uint16_t) ((0.9*k-14)*(0.9*k-14))+40; //parabula to make lowthresh high(250ish) on the low MAG[0] and high MAG[32].
		//lowThresh[k] = (uint16_t) ((0.7*k-14)*(0.7*k-14))+40; //parabola to make lowthresh high(250ish) on the low MAG[0] and high MAG[32].
		lowThresh[k]=10;
		//lowThresh[0]=410;
		//lowThresh[1]=410;
		//lowThresh[2]=300;
		//lowThresh[3]=50;
		highThresh[k]=lowThresh[k]+hOffset; //reset the highThresh value to lowthresh + hOffset. Max 255 //Must increase in another function
	}
}

void adjustVals(){ //takes the raw Mic readings (Freqval[]) and removes the noise and lowThresh offsets
	  // Loop for each magnitude and find the magnitiude. not really needed to sqrt
	  for (int i = 0; i < N; i++){
		  MAG[i] = sqrt(REX[i]*REX[i] + IMX[i]*IMX[i]); //Magnitude from Pythagoram of Real and Complex
		  MAG[i] -=lowThresh[i]; // subtract off lowThresh to reduce the value (shift down) MAG[i]
		  if (MAG[i] < 0) MAG[i] = 0;
		  if (MAG[i] > 1023-hOffset) MAG[i] = 1023-hOffset;
		  if (MAG[i] > highThresh[i] && MAG[i] < highThresh[i] + (hOffset*2))  highThresh[i] = MAG[i]+hOffset;//increase highThresh as needed. //uses window that may have flaws

	}
}

//yDist = audioMap(c,numRows,1); // valS[x] proportional to nLength

uint16_t audioMap(int audioIndx, int outHigh, int offsetHigh){//maps ValS[i] to some number and constrains it to some number-another number
	uint16_t temp = (MAG[audioIndx]*outHigh)/(highThresh[audioIndx]-lowThresh[audioIndx]);
			if(temp>outHigh-offsetHigh) temp = outHigh;
	return temp;
}

//AAAAAAAAAAAAAAAAAAAAAAAAAAAAAAAAAAAAAAAAAAAAAAAAAAAAAAAAAAAAAAAAAAAAAAAAAAAAAAAAAAAAAAAAAAAAAAAAAAAAAAAAAAAAAAAAAAAAAAA Audio Adjustments

void graphMAG_ADJUSTED() { //draws FFT magnitudes on OLED and RGB Matrix
//yDist = audioMap(c,numRows,1); // valS[x] proportional to nLength
//rDist = audioMap(c,red,0);	 // valS[x] proportional to nLength
//gDist = audioMap(c,green,0);	 // valS[x] proportional to nLength
//bDist = audioMap(c,blue,0);	 // valS[x] proportional to nLength
//uint16_t freqScale[16]={1024,1024,1024,1024,1024,1024,1024,1024,1024,1024,1024,1024,1024,1024,1024,1024}; //these set the upper limit (10Bit)
  uint8_t slide = 4; //bin number from bin[0] //MAG[0] and MAG[1] are a bitch. starts at MAG[2].
  uint8_t Sc = 2;//every other bin. 64 bins. 32 usable bins. displaying 16 bins.
  adjustVals(); //
  for(int k=0; k<16; k++) SSD1306_DrawFilledRectangle(8*k, (SSD1306_HEIGHT-1)-audioMap((k*Sc)+slide,SSD1306_HEIGHT-1,1), 6, audioMap((k*Sc)+slide,SSD1306_HEIGHT-1,1), 1); //draw 16 bars abs(x[k]) on (0 to k/2)
  SSD1306_UpdateScreen(); //display
  SSD1306_Clear();

  BlankScreen(BLACK);
  for(int x=0; x<8; x++){ //graph on rgb glasses
	  getrand(randSelect);
	  for(uint16_t y=0; y<audioMap((x*Sc)+slide,numRows,1); y++) setPixelColor(ColumnArray[x][y], Forecolor);   //I changed this to work with the 168 led display(21 cols) and 32 (64/2 usable) Bins
	  for(uint16_t y=0; y<audioMap(((x+8)*Sc)+slide,numRows,1); y++) setPixelColor(ColumnArray[x+13][y], Forecolor);
  }
  show();
}

/*
void graphMAG_ADJUSTED() { //draws FFT magnitudes on OLED and RGB Matrix
//yDist = audioMap(c,numRows,1); // valS[x] proportional to nLength
//rDist = audioMap(c,red,0);	 // valS[x] proportional to nLength
//gDist = audioMap(c,green,0);	 // valS[x] proportional to nLength
//bDist = audioMap(c,blue,0);	 // valS[x] proportional to nLength
  uint8_t slide = 0; //bin number from bin[0]
  uint8_t Sc = 2;//every other bin. 64 bins. 32 usable bins. displaying 16 bins.
  uint16_t freqScale[16]={1024,1024,1024,1024,1024,1024,1024,1024,1024,1024,1024,1024,1024,1024,1024,1024}; //these set the upper limit (10Bit)
  adjustVals(); //
  //for(int k=0; k<16; k++) SSD1306_DrawFilledRectangle(8*k, (SSD1306_HEIGHT-1)-(uint16_t) map(MAG[(k*Sc)+2],0,freqScale[k],0,(SSD1306_HEIGHT-1)), 6, (uint16_t) map(MAG[(k*Sc)+2],0,freqScale[k],0,(SSD1306_HEIGHT-1)), 1); //draw 16 bars abs(x[k]) on (0 to k/2)
  for(int k=0; k<16; k++) SSD1306_DrawFilledRectangle(8*k, (SSD1306_HEIGHT-1)-audioMap((k*Sc)+slide,SSD1306_HEIGHT-1,1), 6, audioMap((k*Sc)+slide,SSD1306_HEIGHT-1,1), 1); //draw 16 bars abs(x[k]) on (0 to k/2)
  SSD1306_UpdateScreen(); //display
  SSD1306_Clear();

  BlankScreen(BLACK);
  for(int x=0; x<8; x++){ //graph on rgb glasses
	  getrand(randSelect);
	  for(int y=0; y<(uint16_t) audioMap((x*Sc)+slide,numRows,1); y++) setPixelColor(ColumnArray[x][y], Forecolor);   //I changed this to work with the 168 led display(21 cols) and 32 (64/2 usable) Bins
	  for(int y=0; y<(uint16_t) audioMap(((x+8)*Sc)+slide,numRows,1); y++) setPixelColor(ColumnArray[x+13][y], Forecolor);
  }
  show();

}
*/

void splash(){
BlankScreen(BLACK);
for(int c=0; c<15; c++){
getrand(1); //random red color
setPixelColor( rand() % (NUMLEDS - 0 + 1) + 0, Forecolor); //add a sprinkle                                 //make sprikle brighntess propotional to the freq amplitude
getrand(2); //random red color
setPixelColor( rand() % (NUMLEDS - 0 + 1) + 0, Forecolor); //add a sprinkle
getrand(3); //random red color
setPixelColor( rand() % (NUMLEDS - 0 + 1) + 0, Forecolor); //add a sprinkle
}
show();
}

void show(void){
HAL_SPI_Transmit_DMA(&hspi2, myData, (NUMLEDS*EXPANDFACTOR)+SPILOWTIME); //Begin SPI - SPI DMA data burst to LEDS
//HAL_Delay(2); //(50 LEDs) 2ms delay to prevent sending data modified after DMA call  - will add if needed
//HAL_Delay(4); //(128 LEDSs) 2ms delay to prevent sending data modified after DMA call
}

void setPixelColor(int pixelNum, uint32_t c){ //pass in a Pixel Number and 32bit Color and map to 9 bytes
	  uint8_t myGRB[3]; //create an array to hold the GRB bytes for one 23bit color
	  for(int x=0; x<3; x++) myGRB[x] = (c >> ((2-x) * 8)) & 0xFF; //extract the green,red,blue from the 32bit and write the 8bit values into myGRB array
	  for(int y=0; y<3; y++){ //this is to index the G,R,B bytes
	    for(int x=0; x<3; x++)  myData[(y*3)+(pixelNum*9)+x] = (bitExpand[myGRB[y]] >> ((2-x) * 8)) & 0xFF; //expand green, red, blue. from 1 byte into 3 bytes each (9 bytes total)
	  }
}

uint32_t getPixelColor(int c){ //receives a Led Number and returns its 32 bit value
	uint8_t myGRB[3];
	uint32_t myExpanedByte[3]; //
	uint8_t i=0; //used to index the bittable
	for(int x=0; x<3; x++) myExpanedByte[x] =  ((uint32_t)myData[(c*9)+(3*x)] << 16) | ((uint32_t)myData[(c*9)+(3*x)+1] <<  8) | (uint32_t) myData[(c*9)+(3*x)+2]; //extract values from myData Array
    for(int x=0; x<3; x++){
	  while(myExpanedByte[x] != bitExpand[i]) i++; //loop until match occurs
	  myGRB[x] = i; //store the index into 3 bytes sized values
	  i=0;
     }
	return ((uint32_t)myGRB[0] << 16) | ((uint32_t)myGRB[1] <<  8 | (uint32_t) myGRB[2]); //return a uint32_t value for the color stored on the led
}

void BlankScreen(uint32_t c) { //quickly set the entire screen one color
  for (int i = 0; i < NUMLEDS; i++) {
    setPixelColor(i, c);
  }
  show();
}

void rotateCCW(uint32_t theta){ //rotates all pixels theta rads counter clockwise //not quite working yet. something with math is wrong. test this in codeblocks?
	int myOffset = 5;
	int myX = 10;
	int myY = 5;
	//move to origin: x-
	for(float i=0; i<=2; i+=.5){
	int myXT = myOffset + (int) ((myX-myOffset)*cos(M_PI*i)-(myY-myOffset)*sin(M_PI*i));
	int myYT = myOffset + (int) ((myX-myOffset)*sin(M_PI*i)+(myY-myOffset)*cos(M_PI*i));
	BlankScreen(0);
	setPixelColor(ColumnArray[myX][myY], 0x0A0000); ///set a pixel green
	show();
	HAL_Delay(1000);
	setPixelColor(ColumnArray[myXT][myYT], 0x000A00);
	show();
	HAL_Delay(1000);
	myX = myXT;
	myY = myYT;
	}
}

//shift right function
void HorizShiftR () {   //Shift columns right 1 palce
  for ( int s = numCols-2; s >= 0; s--) { //read one hind. index COLUMNS
    for (int b = 0; b <= numRows-1; b++) { //read each Led value.  inded the ROWS
      ArrayBuffer[b] = getPixelColor(ColumnArray[s][b]); //store 5 int32s into bufferarray
      setPixelColor(ColumnArray[s + 1][b], ArrayBuffer[b]); //put those stored vals in place one to the right
    }
  }
  show();
}

//shift Left function
void HorizShiftL () {   //Shift columns right 1 palce
  for ( int s = 1; s <= numCols-1; s++) { //read one behind left
    for (int b = 0; b <= numRows-1; b++) { //read each Led value
      ArrayBuffer[b] = getPixelColor(ColumnArray[s][b]); //store 5 int32s into bufferarray
      setPixelColor(ColumnArray[s - 1][b], ArrayBuffer[b]); //put those stored vals in place one to the left
    }
  }
  show();
}

void BlankColumn(int c) {    //wipes the coulmn 0 to clear out jjunk, to get ready for shifting
  for (int w = 0; w <= numRows-1; w++) {
   setPixelColor(ColumnArray[c][w], 0x000000);
  }
}

//Extract characters for Scrolling text
void printStringWithShiftL(char* s, int shift_speed) { //Add Color??
	while (*s != 0) {
		printCharWithShiftL(*s, shift_speed);
		s++;
	}
}

// Put extracted character on Display     // this works very well
void printCharWithShiftL(char c, int shift_speed) {
	enum {TEXTPOS = 1};
	if (c < 32) return; //error check for ascii values less than ASCII  < ' ' (space) = 32 >
	c -= 32; //align the char ascii with the CharTable
	memcpy(mbuffer, &CH[3 * c], 3); //CH + 3*c is same as &CH[3*c] //copy 3 items
	//mBuffer
	getrand(randSelect);
	for (int j = 0; j <= 2; j++) {
		uint8_t b = 0b00000001;
		for (int k = TEXTPOS; k < TEXTPOS+5; k++) {
			if (mbuffer[j]&b) setPixelColor(ColumnArray[numCols-1][(numRows-1)-k], Forecolor);
			b = b << 1;
		}
		show();
		HorizShiftL(); //shift every column one column left (one space between letters)
		BlankColumn(numCols-1);
		HAL_Delay(shift_speed);
	}
	HorizShiftL(); // (one space after word)

}

uint32_t Color(uint8_t g,uint8_t r,uint8_t b){ //receives a G,R, amd B byte then Returns a 32bit int
return ((uint32_t)g << 16) | ((uint32_t)r <<  8 | (uint32_t) b);
}

long map(long x, long in_min, long in_max, long out_min, long out_max) { //Map function
  return (x - in_min) * (out_max - out_min) / (in_max - in_min) + out_min;
}

int randomNum(int myLow, int myHigh){  //return random integer for low to high range
	return  (rand() % (myHigh - myLow + 1)) + myLow;
}

void sine1 (uint32_t delayTime) { //single wave  //Shift columns right 1 palce
  for (int i = 0; i < numRows; i++) { //number here determins "density"
			BlankColumn(0);
			setPixelColor(ColumnArray[0][i], Forecolor);
			HorizShiftR();
			HAL_Delay(delayTime);
  }
  for (int i = 0; i < numRows; i++) { //number here determins "density"
			BlankColumn(0);
			setPixelColor(ColumnArray[0][(numRows-1) - i], Forecolor);
			HorizShiftR();
			HAL_Delay(delayTime);
  }
}

void nGrid(){ //make a snake head pop upin a random spot and move it arround the screen randomly
	//BlankScreen(0);
	int numBalls = randomNum(4,7); //number of balls
	int Limitx = numCols-1; //width
	int Limity = numRows-1;//height
	int Headx[numBalls]; //head postion holder
	int Heady[numBalls]; //head postion holder
	int Dirx[numBalls]; //-1 or 1
	int Diry[numBalls]; //-1 or 1
	int Tailx[numBalls]; //tailx psotion. is not really 'seen'. exists to reduce "flickering"
	int Taily[numBalls]; //taily position
	int myGreen[numBalls];
	int myRed[numBalls];
	int myBlue[numBalls];
	for(int c=0; c<numBalls; c++){ //loop through all arrays to set intials
	  getrand(randSelect);
	  myGreen[c] = green; //n number if random colors
	  myRed[c] = red;
	  myBlue[c] = blue;
	  Headx[c] = randomNum(0,Limitx+1); //pick n number of random x start points
	  Heady[c] = randomNum(0,Limity+1); //pick n number of random y start points
	  if(randomNum(0,2)){
	  Dirx[c] = 1;//pow(-1,random(1,2));
	  Diry[c] = 1;//pow(-1,random(1,2));
	  }else{
	  Dirx[c] = -1;//pow(-1,random(1,2));
	  Diry[c] = -1;//pow(-1,random(1,2));
	  }
	}
    for(int i=0; i<=cycles; i++){
		 //checkbtn3();
		  for(int c=0; c<numBalls; c++){
			   if(Headx[c]==0) Dirx[c]=1;
			   if(Headx[c]==Limitx) Dirx[c]=-1;
			   if(Heady[c]==0) Diry[c]=1;
			   if(Heady[c]==Limity) Diry[c]=-1;

			  Tailx[c] = Headx[c];
			  Taily[c] = Heady[c];
			  if(c%2==0){
			  Headx[c]+=Dirx[c];
			  }else{
			  Heady[c]+=Diry[c];
			  }
			  setPixelColor(ColumnArray[Headx[c]][Heady[c]],Color(myGreen[c]/(numBalls-c),myRed[c]/(numBalls-c),myBlue[c]/(numBalls-c))); //set the pixel
			  setPixelColor(ColumnArray[Tailx[c]][Taily[c]],0); //clear the pixel (causing flashing?
		}
		    show();
		 	HAL_Delay(waittime);
	}
	if(randomNum(0,1000)==500){
	printStringWithShiftL(" STARIOS", 40); //Send Lscrolling Text (send car array)
	}

}

void nBalls(){ //make a snake head pop upin a random spot and move it around the screen randomly
	//rand usage: int myRandomnumber = (rand() % (MAX - MIN + 1)) + MIN;
#define MAXBALLS 20
#define MINBALLS 8
	int numBalls = (rand() % (MAXBALLS - MINBALLS + 1)) + MINBALLS; //number of balls
	//int Limitx = (numCols-1); //width
	//int Limity = (numRows-1);//height
	int Headx[numBalls]; //head potion holder
	int Heady[numBalls]; //head postion holder
	int Dirx[numBalls]; //-1 or 1
	int Diry[numBalls]; //-1 or 1
	int Tailx[numBalls]; //tailx position. is not really 'seen'. exists to reduce "flickering"
	int Taily[numBalls]; //taily position
	int myGreen[numBalls];
	int myRed[numBalls];
	int myBlue[numBalls];
	for(int c=0; c<numBalls; c++){ //loop through all arrays to set intials
	  getrand(randSelect);
	  myGreen[c] = green; //n number if random colors
	  myRed[c] = red;
	  myBlue[c] = blue;
	  Headx[c] = (rand() % ((numCols-1) - 0 + 1)) + 0; //pick n number of random x start points //could be replaced using my randomNum function
	  Heady[c] = (rand() % ((numRows-1) - 0 + 1)) + 0; //pick n number of random y start points
	  Dirx[c] = 1;//pow(-1,random(1,2));
	  Diry[c] = 1;//pow(-1,random(1,2));
	}
    for(int i=0; i<=cycles; i++){
		 //checkbtn3();
		  for(int c=0; c<numBalls; c++){
			  if(Headx[c]==0) Dirx[c]=1;
			  if(Headx[c]==(numCols-1)) Dirx[c]=-1;
			  if(Heady[c]==0) Diry[c]=1;
			  if(Heady[c]==(numRows-1)) Diry[c]=-1;

			  Tailx[c] = Headx[c];
			  Taily[c] = Heady[c];
			  Headx[c]+=Dirx[c];
			  Heady[c]+=Diry[c];
			  setPixelColor(ColumnArray[Headx[c]][Heady[c]],Color(myGreen[c],myRed[c],myBlue[c])); //set the pixel
			  setPixelColor(ColumnArray[Tailx[c]][Taily[c]],0); //clear the pixel (causing flashing?
		  }
		  show();
		  HAL_Delay(waittime);
		   if((rand() % (30 - 0 + 1)) + 0 == 15){ //get a random number after all the balls have been updated
			 for(int x=0; x<numBalls; x++){ //loop through each ball
			  getrand(randSelect);
			  myGreen[x] = green; //n number if random colors
			  myRed[x] = red;
			  myBlue[x] = blue;
			  if(Headx[x]<numCols-2 && Headx[x]>=2){
				 for(int z=0; z<numBalls; z++) setPixelColor(ColumnArray[Headx[x]][Heady[x]],0); //needed to clear the stuck balls
				 if((rand() % (2 - 0 + 1)) + 0){ //add a shift to keep things from repeating too much
					 Tailx[x] = Headx[x];
					 Headx[x]++;
				 }else{
					 Tailx[x] = Headx[x];
					 Headx[x]--;
				 }
			  }
			 }
		}
	}
	for(uint8_t k=0; k<16; k++){ //picked 5 times as random amount should be enough to get all to zero
	//instead of setting the color to 0, fade it to 0. need to get the rgb for each color in the array. int32 to 3 byte
	int decayRate = 4; //used to set the speed of the dimming effect
	for(uint8_t j=0; j<numBalls; j++){
	    myRed[j]-=decayRate;
		myGreen[j]-=decayRate;
		myBlue[j]-=decayRate;
		if(myRed[j]<decayRate)myRed[j]=0;
		if(myGreen[j]<decayRate)myGreen[j]=0;
		if(myBlue[j]<decayRate)myBlue[j]=0;
		setPixelColor(ColumnArray[Headx[j]][Heady[j]],Color(myRed[j],myGreen[j],myBlue[j])); //clear the pixels this way insteadof BlankScreen
		show();
		//HAL_Delay(1);
	 }

	}
	if(rand() % (10 - 0 + 1) + 0==5){
	getrand(randSelect);
	BlankScreen(Forecolor);
	}

}

void getrand(int c) { // trying to make it //the goal is to get a random forecolor that is not white, then find the opposite of
  //rand usage: int myRandomnumber = (rand() % (MAX - MIN + 1)) + MIN;
	//getrand requries 0,1,2,3, or specify what type of color to return
      switch ((rand() % (2 - 0 + 1)) + 0) { //0 to 3 //map(rand(),0,32767,0,2)      //could be replaced using my randomNum function
        case 0:                                 //multi
            green = (uint8_t) 2*((rand() % ((Brange+1) - (1) + 1)) + 0);
            red = (uint8_t) 2*((rand() % ((Brange+1) - (0) + 1)) + 0);
            blue = 0;
            if(green==0 && red==0) green = 1;
          break;

        case 1:
        	 green = (uint8_t) 2*((rand() % ((Brange+1) - (0) + 1)) + 0);
        	 blue = (uint8_t) 2*((rand() % ((Brange+1) - (1) + 1)) + 0);
        	 red = 0;
        	 if(green==0 && blue==0) blue = 1;
          break;

        case 2:
        	 blue = (uint8_t) 2*((rand() % ((Brange+1) - (0) + 1)) + 0);
        	 red = (uint8_t) 2*((rand() % ((Brange+1) - (1) + 1)) + 0);
        	 green = 0;
        	 if(blue==0 && red==0) red = 1;
          break;
      }

  Forecolor = ((uint32_t)green << 16) | ((uint32_t)red <<  8) | ((uint32_t)blue);
  //CDC_Transmit_FS(Forecolor, 4); //prints color value to USB virtual serial port

}

/* USER CODE END 4 */

void Error_Handler(void)
{
}

/************************ (C) COPYRIGHT STMicroelectronics *****END OF FILE****/
